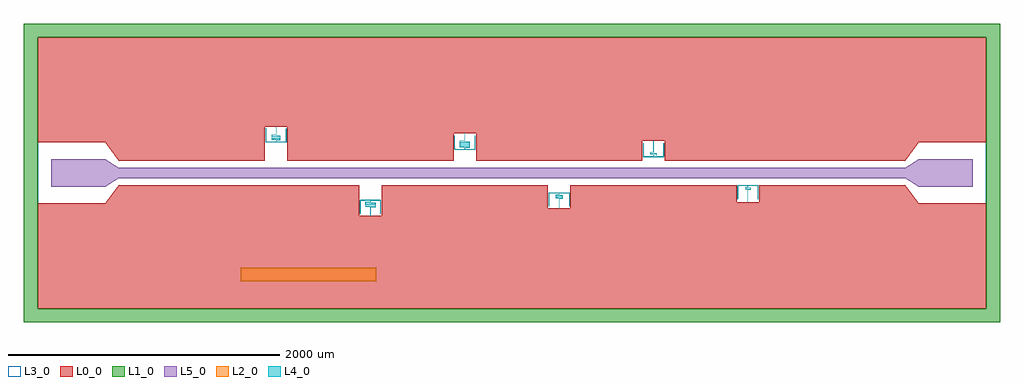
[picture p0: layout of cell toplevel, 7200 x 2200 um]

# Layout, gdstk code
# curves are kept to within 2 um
import gdstk
lib = gdstk.Library(unit=1e-6, precision=1e-09)
def R(c, l, rs):  # rectangles x0, y0, x1, y1
    for r in rs: c.add(gdstk.rectangle(r[:2], r[2:], *l))
def P(c, l, *ps):  # polygons
    for p in ps: c.add(gdstk.Polygon(p, *l))
L0_0 = (0, 0)
L1_0 = (1, 0)
L2_0 = (2, 0)
L3_0 = (3, 0)
L4_0 = (4, 0)
L5_0 = (5, 0)

toplevel = lib.new_cell('toplevel')
P(toplevel, L0_0, [(-1657.5,341),(-1657.5,90),(-430.5,90),(-430.5,291.6),(-265.5,291.6),(-265.5,90),(961.5,90),(961.5,237.2),(1126.5,237.2),(1126.5,90),(2900,90),(3000,225),(3500,225),(3500,1000),(-3500,1000),(-3500,225),(-3000,225),(-2900,90),(-1822.5,90),(-1822.5,341)],
  [(2900,-90),(1822.5,-90),(1822.5,-215),(1657.5,-215),(1657.5,-90),(430.5,-90),(430.5,-259.4),(265.5,-259.4),(265.5,-90),(-961.5,-90),(-961.5,-313.8),(-1126.5,-313.8),(-1126.5,-90),(-2900,-90),(-3000,-225),(-3500,-225),(-3500,-1000),(3500,-1000),(3500,-225),(3000,-225)])
P(toplevel, L1_0, [(3600,1100),(-3600,1100),(-3600,-1000),(-3500,-1000),(-3500,1000),(3500,1000),(3500,-1000),(-3500,-1000),(-3600,-1000),(-3600,-1100),(3600,-1100)])
R(toplevel, L2_0, [(-2000,-800,-1000,-700)])
R(toplevel, L3_0, [(-3500,-1000,3500,1000)])
P(toplevel, L4_0, [(-1739.7,239.925),(-1739.566,240.536),(-1739.02,240.699),(-1709.78,240.71),(-1708.933,241.13),(-1708.7,242.101),(-1708.75,245.468),(-1709.13,246.067),(-1709.828,246.293),(-1769.888,246.3),(-1770.646,246.605),(-1770.689,250.197),(-1770.127,250.695),(-1709.923,250.702),(-1708.79,251.401),(-1708.738,255.416),(-1709.099,256.044),(-1709.81,256.292),(-1769.888,256.3),(-1770.644,256.598),(-1770.682,260.251),(-1770.145,260.694),(-1709.946,260.701),(-1708.797,261.381),(-1708.733,265.39),(-1709.058,266.008),(-1709.816,266.292),(-1769.95,266.3),(-1770.64,266.589),(-1770.687,270.21),(-1770.15,270.693),(-1710.008,270.7),(-1708.81,271.348),(-1708.736,275.403),(-1709.082,276.029),(-1709.786,276.29),(-1769.95,276.3),(-1770.632,276.57),(-1770.691,280.176),(-1770.247,280.682),(-1740.963,280.701),(-1739.834,281.296),(-1739.7,341),(-1740.3,341),(-1740.375,281.555),(-1741.02,281.3),(-1770.364,281.271),(-1771.272,280.358),(-1771.178,276.322),(-1769.986,275.7),(-1709.85,275.693),(-1709.312,275.206),(-1709.364,271.579),(-1710.05,271.3),(-1770.214,271.29),(-1770.918,271.029),(-1771.263,270.409),(-1771.198,266.368),(-1770.763,265.864),(-1769.992,265.7),(-1709.864,265.694),(-1709.31,265.189),(-1709.365,261.576),(-1709.985,261.301),(-1770.19,261.292),(-1770.918,261.029),(-1771.264,260.403),(-1771.208,256.394),(-1770.077,255.702),(-1709.855,255.694),(-1709.309,255.176),(-1709.356,251.598),(-1710.112,251.3),(-1770.22,251.289),(-1770.912,251.034),(-1771.265,250.396),(-1771.232,246.467),(-1770.814,245.894),(-1770.077,245.702),(-1709.824,245.691),(-1709.315,245.227),(-1709.308,241.828),(-1709.985,241.301),(-1739.481,241.246),(-1740.278,240.32),(-1740.3,236),(-1750,231),(-1810.62,231),(-1812.259,231.263),(-1812.5,232.9),(-1812.502,326.109),(-1812.952,327.434),(-1814.043,328.31),(-1815.326,328.479),(-1816.607,327.915),(-1817.266,327.056),(-1817.5,326),(-1817.475,231.954),(-1816.915,229.4),(-1815.563,227.507),(-1813.447,226.346),(-1810.644,226),(-1669.356,226),(-1666.888,226.253),(-1664.934,227.118),(-1663.1,229.365),(-1662.503,232.563),(-1662.5,326),(-1663.085,327.607),(-1664.353,328.415),(-1665.752,328.384),(-1666.983,327.522),(-1667.498,326.109),(-1667.5,232.88),(-1667.746,231.257),(-1669.38,231),(-1730,231),(-1739.7,236)],
  [(-1044.302,-212.877),(-1044.443,-213.346),(-1044.919,-213.497),(-1082.377,-213.531),(-1083.085,-213.955),(-1083.3,-214.858),(-1083.267,-218.19),(-1082.965,-218.787),(-1082.39,-219.067),(-1006.01,-219.1),(-1005.432,-219.266),(-1005.3,-219.922),(-1005.32,-223.059),(-1005.891,-223.496),(-1081.981,-223.5),(-1082.75,-223.657),(-1083.19,-224.148),(-1083.262,-228.216),(-1082.9,-228.844),(-1082.171,-229.093),(-1006.06,-229.1),(-1005.367,-229.373),(-1005.313,-233.014),(-1005.877,-233.495),(-1081.975,-233.5),(-1082.73,-233.647),(-1083.172,-234.109),(-1083.263,-238.209),(-1082.906,-238.839),(-1082.171,-239.093),(-1006.06,-239.1),(-1005.376,-239.352),(-1005.313,-243.01),(-1005.877,-243.495),(-1081.97,-243.5),(-1083.15,-244.063),(-1083.265,-248.196),(-1082.912,-248.834),(-1082.178,-249.093),(-1006.065,-249.1),(-1005.388,-249.329),(-1005.309,-252.98),(-1005.79,-253.487),(-1043.003,-253.5),(-1044.117,-254.005),(-1044.3,-313.8),(-1043.7,-313.8),(-1043.606,-254.318),(-1042.96,-254.1),(-1005.693,-254.08),(-1005.041,-253.792),(-1004.728,-253.158),(-1004.864,-249.037),(-1006.03,-248.5),(-1082.123,-248.495),(-1082.687,-248.01),(-1082.618,-244.34),(-1081.935,-244.1),(-1005.828,-244.093),(-1005.093,-243.839),(-1004.736,-243.203),(-1004.837,-239.089),(-1006.025,-238.5),(-1082.123,-238.495),(-1082.687,-238.01),(-1082.628,-234.361),(-1081.94,-234.1),(-1005.828,-234.093),(-1005.099,-233.844),(-1004.738,-233.216),(-1004.816,-229.135),(-1005.263,-228.65),(-1006.025,-228.5),(-1082.123,-228.495),(-1082.687,-228.014),(-1082.636,-224.379),(-1081.94,-224.1),(-1005.852,-224.095),(-1005.07,-223.819),(-1004.736,-223.203),(-1004.8,-219.175),(-1005.218,-218.675),(-1005.969,-218.501),(-1082.167,-218.492),(-1082.685,-218.027),(-1082.694,-214.655),(-1082.548,-214.244),(-1082.077,-214.102),(-1044.584,-214.061),(-1043.986,-213.736),(-1043.726,-213.145),(-1043.7,-208.8),(-1034,-203.8),(-973.38,-203.8),(-971.73,-204.079),(-971.5,-205.68),(-971.498,-298.909),(-971.048,-300.234),(-969.957,-301.11),(-968.674,-301.279),(-967.393,-300.715),(-966.734,-299.856),(-966.5,-298.8),(-966.525,-204.754),(-967.085,-202.2),(-968.437,-200.307),(-970.552,-199.146),(-973.356,-198.8),(-1114.644,-198.8),(-1117.112,-199.053),(-1119.066,-199.918),(-1120.853,-202.061),(-1121.496,-205.313),(-1121.5,-298.8),(-1120.915,-300.407),(-1119.647,-301.215),(-1118.248,-301.184),(-1117.017,-300.322),(-1116.502,-298.909),(-1116.5,-205.7),(-1116.254,-204.057),(-1114.62,-203.8),(-1054,-203.8),(-1044.3,-208.8)],
  [(-347.7,185.53),(-347.559,186.144),(-347.005,186.299),(-311.316,186.307),(-310.461,186.693),(-310.2,187.701),(-310.257,191.094),(-310.624,191.662),(-311.358,191.895),(-384.388,191.9),(-385.148,192.212),(-385.184,195.839),(-384.654,196.293),(-311.463,196.301),(-310.718,196.475),(-310.3,196.975),(-310.236,201.003),(-310.636,201.672),(-311.346,201.894),(-384.445,201.9),(-385.139,202.186),(-385.187,205.814),(-384.627,206.295),(-311.519,206.3),(-310.75,206.457),(-310.31,206.948),(-310.238,211.016),(-310.593,211.639),(-311.322,211.893),(-384.44,211.9),(-385.132,212.17),(-385.187,215.81),(-384.627,216.295),(-311.525,216.3),(-310.776,216.443),(-310.331,216.902),(-310.236,221.003),(-310.593,221.639),(-311.322,221.893),(-384.44,221.9),(-385.121,222.146),(-385.187,225.81),(-384.627,226.295),(-311.53,226.3),(-310.357,226.85),(-310.235,230.996),(-310.587,231.634),(-311.316,231.892),(-384.435,231.9),(-385.109,232.124),(-385.191,235.776),(-384.714,236.287),(-348.991,236.301),(-347.89,236.792),(-347.7,291.6),(-348.3,291.6),(-348.399,237.111),(-349.04,236.9),(-384.82,236.878),(-385.47,236.582),(-385.774,235.945),(-385.629,231.824),(-384.47,231.3),(-311.373,231.295),(-310.812,230.806),(-310.885,227.135),(-311.56,226.9),(-384.683,226.892),(-385.412,226.634),(-385.765,225.996),(-385.657,221.876),(-385.211,221.437),(-384.475,221.3),(-311.373,221.295),(-310.813,220.81),(-310.873,217.158),(-311.56,216.9),(-384.677,216.893),(-385.406,216.639),(-385.763,216.009),(-385.681,211.928),(-385.237,211.45),(-384.481,211.3),(-311.373,211.295),(-310.813,210.814),(-310.864,207.179),(-311.555,206.9),(-384.677,206.893),(-385.406,206.639),(-385.761,206.016),(-385.695,201.961),(-385.256,201.46),(-384.481,201.3),(-311.386,201.296),(-310.819,200.855),(-310.855,197.202),(-311.505,196.9),(-384.653,196.894),(-385.394,196.648),(-385.765,195.996),(-385.708,191.994),(-385.224,191.443),(-384.388,191.3),(-311.346,191.293),(-310.944,191.148),(-310.801,190.644),(-310.808,187.428),(-311.171,186.934),(-347.428,186.859),(-348.019,186.53),(-348.275,185.939),(-348.3,181.6),(-358,176.6),(-418.62,176.6),(-420.243,176.846),(-420.5,178.5),(-420.502,271.709),(-420.952,273.034),(-422.043,273.91),(-423.326,274.079),(-424.607,273.515),(-425.266,272.656),(-425.5,271.6),(-425.475,177.554),(-424.915,175),(-423.563,173.107),(-421.447,171.946),(-418.644,171.6),(-277.356,171.6),(-274.888,171.853),(-272.934,172.718),(-271.869,173.7),(-271.1,174.965),(-270.503,178.163),(-270.5,271.6),(-271.085,273.207),(-272.353,274.015),(-273.752,273.984),(-274.983,273.122),(-275.498,271.709),(-275.5,178.48),(-275.746,176.857),(-277.38,176.6),(-338,176.6),(-347.7,181.6)],
  [(347.698,-158.463),(347.039,-159.099),(323.5,-159.159),(322.871,-159.624),(322.7,-160.501),(322.741,-163.828),(323.48,-164.636),(372.053,-164.702),(372.581,-164.881),(372.7,-165.486),(372.681,-168.655),(372.145,-169.094),(323.986,-169.101),(323.173,-169.303),(322.762,-169.887),(322.741,-173.828),(323.78,-174.69),(371.894,-174.7),(372.66,-175.05),(372.685,-178.627),(372.163,-179.092),(323.923,-179.102),(322.776,-179.84),(322.731,-183.777),(323.774,-184.689),(371.965,-184.7),(372.654,-185.029),(372.692,-188.571),(372.283,-189.076),(348.929,-189.102),(347.781,-189.827),(347.7,-259.4),(348.3,-259.4),(348.349,-190.018),(348.995,-189.701),(372.416,-189.661),(373.272,-188.758),(373.226,-184.847),(372.014,-184.101),(323.837,-184.092),(323.317,-183.643),(323.343,-180.039),(323.966,-179.701),(372.232,-179.688),(373.263,-178.809),(373.238,-174.887),(372.82,-174.298),(372.014,-174.101),(323.837,-174.092),(323.315,-173.631),(323.34,-170.05),(324.106,-169.7),(372.257,-169.686),(373.26,-168.822),(373.245,-164.913),(372.833,-164.307),(372.014,-164.101),(323.803,-164.089),(323.312,-163.606),(323.308,-160.233),(323.971,-159.701),(347.553,-159.626),(348.281,-158.701),(348.3,-154.4),(358,-149.4),(418.62,-149.4),(420.27,-149.679),(420.502,-244.509),(420.952,-245.834),(422.043,-246.71),(423.326,-246.879),(424.607,-246.315),(425.5,-244.4),(425.475,-150.354),(424.915,-147.8),(423.563,-145.907),(421.447,-144.746),(418.644,-144.4),(277.356,-144.4),(274.888,-144.653),(272.934,-145.518),(271.1,-147.766),(270.503,-150.963),(270.5,-244.4),(271.085,-246.007),(272.353,-246.815),(273.752,-246.784),(274.983,-245.922),(275.498,-244.509),(275.746,-149.657),(338,-149.4),(347.7,-154.4)],
  [(1044.3,131.12),(1044.947,131.898),(1068.232,131.912),(1069.072,132.336),(1069.3,133.322),(1069.246,136.681),(1068.226,137.489),(1020.03,137.5),(1019.332,137.879),(1019.313,141.41),(1019.82,141.891),(1068.02,141.901),(1069.248,142.726),(1069.26,146.622),(1068.251,147.487),(1020.03,147.5),(1019.337,147.86),(1019.309,151.376),(1019.717,151.876),(1043.083,151.902),(1044.24,152.693),(1044.3,237.2),(1043.7,237.2),(1043.661,152.853),(1043.01,152.501),(1019.584,152.461),(1018.73,151.57),(1018.757,147.706),(1019.98,146.901),(1068.18,146.891),(1068.687,146.41),(1068.666,142.871),(1067.97,142.5),(1019.749,142.487),(1018.74,141.622),(1018.749,137.739),(1019.98,136.901),(1068.167,136.892),(1068.683,136.443),(1068.696,133.086),(1068.067,132.502),(1044.447,132.426),(1043.726,131.545),(1043.7,127.2),(1034,122.2),(971.73,122.479),(971.498,217.309),(971.048,218.634),(969.957,219.51),(968.674,219.679),(967.393,219.115),(966.5,217.2),(966.525,123.154),(967.1,120.565),(968.437,118.707),(970.552,117.546),(973.356,117.2),(1114.644,117.2),(1117.112,117.453),(1119.066,118.318),(1120.853,120.461),(1121.496,123.713),(1121.5,217.2),(1120.915,218.807),(1119.647,219.615),(1118.248,219.584),(1117.017,218.722),(1116.502,217.309),(1116.254,122.457),(1054,122.2),(1044.3,127.2)],
  [(1739.699,-104.044),(1739.077,-104.698),(1720.48,-104.764),(1719.7,-106.122),(1719.73,-109.37),(1720.46,-110.23),(1758.985,-110.3),(1759.554,-110.45),(1759.7,-111.065),(1759.688,-114.206),(1759.21,-114.687),(1720.952,-114.701),(1719.745,-115.552),(1719.738,-119.416),(1720.706,-120.281),(1758.985,-120.3),(1759.675,-120.709),(1759.692,-124.167),(1759.325,-124.667),(1740.876,-124.704),(1739.74,-125.578),(1739.7,-215),(1740.3,-215),(1740.327,-125.701),(1740.966,-125.301),(1759.481,-125.246),(1760.272,-124.358),(1760.263,-120.591),(1759.048,-119.701),(1720.79,-119.687),(1720.312,-119.206),(1720.324,-115.717),(1721.015,-115.3),(1759.294,-115.281),(1760.26,-114.422),(1760.268,-110.617),(1759.048,-109.701),(1720.798,-109.688),(1720.315,-109.231),(1720.311,-105.803),(1720.909,-105.303),(1739.612,-105.205),(1740.277,-104.326),(1740.3,-100),(1750,-95),(1812.27,-95.279),(1812.502,-190.109),(1812.952,-191.434),(1814.043,-192.31),(1815.326,-192.479),(1816.607,-191.915),(1817.5,-190),(1817.475,-95.954),(1816.915,-93.4),(1815.563,-91.507),(1813.447,-90.346),(1810.644,-90),(1669.356,-90),(1666.888,-90.253),(1664.934,-91.118),(1663.1,-93.365),(1662.503,-96.563),(1662.5,-190),(1663.085,-191.607),(1664.353,-192.415),(1665.752,-192.384),(1666.983,-191.522),(1667.498,-190.109),(1667.746,-95.257),(1730,-95),(1739.7,-100)])
P(toplevel, L5_0, [(-2900,40),(-3000,100),(-3400,100),(-3400,-100),(-3000,-100),(-2900,-40),(2900,-40),(3000,-100),(3400,-100),(3400,100),(3000,100),(2900,40)])

lib.write_gds('toplevel.gds')
